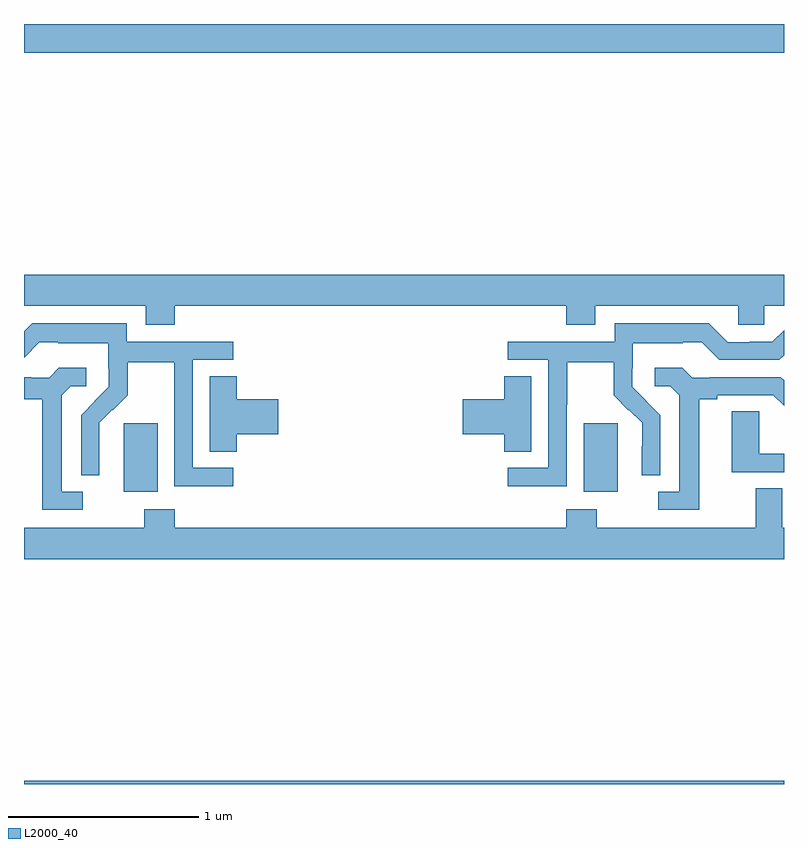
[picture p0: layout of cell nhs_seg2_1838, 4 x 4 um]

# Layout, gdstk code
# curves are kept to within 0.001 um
import gdstk
lib = gdstk.Library(unit=1e-6, precision=1e-09)
def R(c, l, rs):  # rectangles x0, y0, x1, y1
    for r in rs: c.add(gdstk.rectangle(r[:2], r[2:], *l))
def P(c, l, *ps):  # polygons
    for p in ps: c.add(gdstk.Polygon(p, *l))
L2000_40 = (2000, 40)

nhs_seg2_1838 = lib.new_cell('nhs_seg2_1838')
R(nhs_seg2_1838, L2000_40, [(207,631.8,211,631.816), (207.524,633.338,207.703,633.699), (209.945,633.338,210.124,633.699), (207,635.648,211,635.8)])
P(nhs_seg2_1838, L2000_40, [(207.794,634.316),(209.855,634.316),(209.855,634.217),(210.007,634.217),(210.007,634.316),(210.759,634.316),(210.759,634.218),(210.897,634.218),(210.897,634.316),(211,634.316),(211,634.48),(207,634.48),(207,634.316),(207.641,634.316),(207.641,634.217),(207.794,634.217)],
  [(209.856,633.796),(209.859,633.796),(209.859,634.02),(210.103,634.02),(210.103,633.845),(210.18,633.768),(210.183,633.771),(210.254,633.701),(210.254,633.578),(210.252,633.578),(210.252,633.424),(210.348,633.424),(210.348,633.742),(210.202,633.89),(210.202,633.987),(210.204,633.987),(210.204,634.121),(210.467,634.121),(210.467,634.125),(210.567,634.125),(210.66,634.032),(210.975,634.032),(211,634.057),(211,634.189),(210.939,634.128),(210.821,634.128),(210.821,634.125),(210.705,634.125),(210.605,634.225),(210.108,634.225),(210.108,634.128),(209.547,634.128),(209.547,634.032),(209.76,634.032),(209.76,633.465),(209.547,633.465),(209.547,633.367),(209.856,633.367)],
  [(208.102,633.465),(207.888,633.465),(207.888,634.032),(208.102,634.032),(208.102,634.128),(207.54,634.128),(207.54,634.225),(207.043,634.225),(207,634.182),(207,634.044),(207.081,634.125),(207.181,634.125),(207.181,634.121),(207.444,634.121),(207.444,633.987),(207.446,633.987),(207.446,633.89),(207.3,633.742),(207.3,633.424),(207.396,633.424),(207.395,633.701),(207.465,633.771),(207.468,633.768),(207.545,633.845),(207.545,634.02),(207.79,634.02),(207.79,633.796),(207.792,633.796),(207.792,633.367),(208.102,633.367)],
  [(207.31,633.339),(207.199,633.339),(207.199,633.847),(207.246,633.894),(207.328,633.894),(207.328,633.991),(207.184,633.991),(207.132,633.939),(207.038,633.939),(207.038,633.942),(207,633.942),(207,633.824),(207.095,633.824),(207.095,633.243),(207.31,633.243)],
  [(210.553,633.824),(210.649,633.824),(210.649,633.846),(210.944,633.846),(211,633.79),(211,633.924),(210.982,633.942),(210.61,633.942),(210.61,633.939),(210.516,633.939),(210.464,633.991),(210.321,633.991),(210.321,633.894),(210.402,633.894),(210.449,633.847),(210.449,633.339),(210.339,633.339),(210.339,633.243),(210.553,633.243)],
  [(208.121,633.641),(208.339,633.641),(208.339,633.824),(208.121,633.824),(208.121,633.947),(207.977,633.947),(207.977,633.55),(208.121,633.55)],
  [(209.671,633.947),(209.528,633.947),(209.528,633.824),(209.31,633.824),(209.31,633.641),(209.528,633.641),(209.528,633.55),(209.671,633.55)],
  [(211,633.537),(210.87,633.537),(210.87,633.761),(210.725,633.761),(210.725,633.441),(211,633.441)],
  [(211,633.148),(210.991,633.148),(210.991,633.356),(210.851,633.356),(210.851,633.148),(210.015,633.148),(210.015,633.247),(209.855,633.247),(209.855,633.148),(207.794,633.148),(207.794,633.247),(207.634,633.247),(207.634,633.148),(207,633.148),(207,632.984),(211,632.984)])

lib.write_gds('nhs_seg2_1838.gds')
